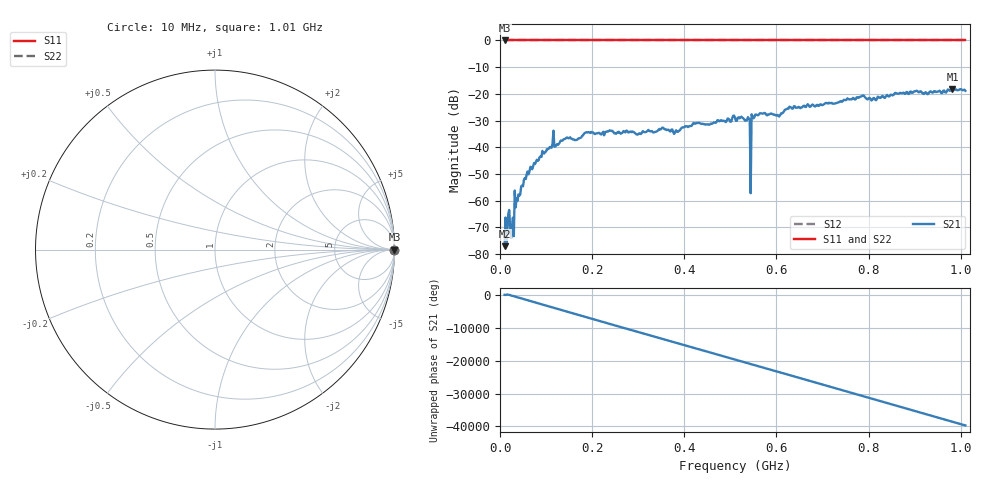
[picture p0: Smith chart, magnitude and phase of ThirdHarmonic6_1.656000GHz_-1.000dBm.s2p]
! 8/16/2025 7:50:17 PM
! C:\ANRITSUVNA\TEMP\TEMP.S2P
! CHANNEL.1
! TR.MEASUREMENT
! RAW.DATA
! RF.CORRECTION.OFF
! AVERAGING.OFF
! IF.BANDWIDTH: 5KHZ
! SWEEPTYPE:  FREQ.SWEEP(Linear)
! Reference Plane Port Info
! PORT:  PORT1  PORT2
! DISTANCE:  0  m  0  m
! TIME:  0  s  0  s
! PHASE.OFFSET:  0  deg.  0  deg.
! LOSS:  0  dB  0  dB
! REF.LOSS:  0  dB  0  dB
! REF.FREQ:  0  Hz  0  Hz
! Power Info
! POWER:  -20  dBm  -20  dBm
! EFF.POWER:  -20  dBm  -20  dBm
! SOURCE.ATTEN:  0  dB  0  dB
! TEST.ATTEN:  0  dB  0  dB
# GHZ S RI R 50.0
! FREQ.GHZ  S11RE  S11IM  S21RE  S21IM  S12RE  S12IM  S22RE  S22IM
!; PortSelection: Port_12
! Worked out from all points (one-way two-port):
!   501 points, 10 MHz to 1.01 GHz, reference 50 ohm
!   highest |S21| = -18.12 dB at 982 MHz (marker M1); lowest = -77.0 dB at 10 MHz (marker M2)
!   lowest |S11| = 0.0 dB at 10 MHz (marker M3)
!   |S11| at or under -10 dB: nowhere
!   |S22| runs from 0.0 to 0.0 dB; largest |S21 - S12| = 1.1
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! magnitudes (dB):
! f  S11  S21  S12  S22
! 10 MHz  0.0  -77.0  0.0  0.0
! 16 MHz  0.0  -71.2  0.0  0.0
! 24 MHz  0.0  -74.0  0.0  0.0
! 26 MHz  0.0  -71.3  0.0  0.0
! 36 MHz  0.0  -59.1  0.0  0.0
! 70 MHz  0.0  -48.2  0.0  0.0
! 112 MHz  0.0  -40.1  0.0  0.0
! 178 MHz  0.0  -35.8  0.0  0.0
! 344 MHz  0.0  -33.5  0.0  0.0
! 382 MHz  0.0  -33.6  0.0  0.0
! 424 MHz  0.0  -31.2  0.0  0.0
! 510 MHz  0.0  -28.9  0.0  0.0
! 538 MHz  0.0  -28.7  0.0  0.0
! 540 MHz  0.0  -29.2  0.0  0.0
! 548 MHz  0.0  -28.4  0.0  0.0
! 550 MHz  0.0  -29.2  0.0  0.0
! 604 MHz  0.0  -28.1  0.0  0.0
! 628 MHz  0.0  -24.8  0.0  0.0
! 678 MHz  0.0  -24.0  0.0  0.0
! 844 MHz  0.0  -21.0  0.0  0.0
! 982 MHz  0.0  -18.1  0.0  0.0
! 1.01 GHz  0.0  -18.8  0.0  0.0
